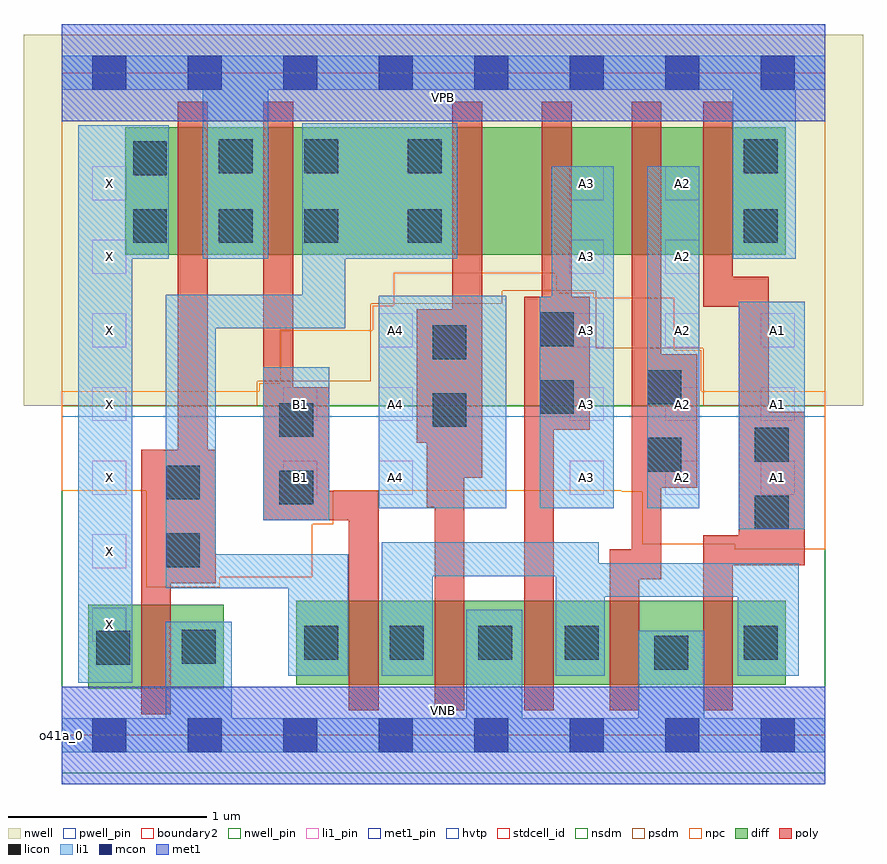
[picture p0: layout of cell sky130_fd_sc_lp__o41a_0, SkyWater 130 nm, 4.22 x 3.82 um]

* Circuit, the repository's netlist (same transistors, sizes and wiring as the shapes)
* Copyright 2020 The SkyWater PDK Authors
*
* Licensed under the Apache License, Version 2.0 (the "License");
* you may not use this file except in compliance with the License.
* You may obtain a copy of the License at
*
*     https://www.apache.org/licenses/LICENSE-2.0
*
* Unless required by applicable law or agreed to in writing, software
* distributed under the License is distributed on an "AS IS" BASIS,
* WITHOUT WARRANTIES OR CONDITIONS OF ANY KIND, either express or implied.
* See the License for the specific language governing permissions and
* limitations under the License.
*
* SPDX-License-Identifier: Apache-2.0

.SUBCKT sky130_fd_sc_lp__o41a_0 A1 A2 A3 A4 B1 VGND VNB VPB VPWR X
*.PININFO A1:I A2:I A3:I A4:I B1:I VGND:I VNB:I VPB:I VPWR:I X:O
MMPA0 VPWR A1 sndA1 VPB sky130_fd_pr__pfet_01v8_hvt m=1 w=0.64U l=0.15U mult=1
+ sa=0.265 sb=0.265 sd=0.28 area=0.063 perim=1.14
MMPA1 sndA1 A2 sndA2 VPB sky130_fd_pr__pfet_01v8_hvt m=1 w=0.64U l=0.15U mult=1
+ sa=0.265 sb=0.265 sd=0.28 area=0.063 perim=1.14
MMPA2 sndA2 A3 sndA3 VPB sky130_fd_pr__pfet_01v8_hvt m=1 w=0.64U l=0.15U mult=1
+ sa=0.265 sb=0.265 sd=0.28 area=0.063 perim=1.14
MMPA3 sndA3 A4 y VPB sky130_fd_pr__pfet_01v8_hvt m=1 w=0.64U l=0.15U mult=1 sa=0.265
+ sb=0.265 sd=0.28 area=0.063 perim=1.14
MMPB0 VPWR B1 y VPB sky130_fd_pr__pfet_01v8_hvt m=1 w=0.64U l=0.15U mult=1 sa=0.265
+ sb=0.265 sd=0.28 area=0.063 perim=1.14
MMIPX X y VPWR VPB sky130_fd_pr__pfet_01v8_hvt m=1 w=0.64U l=0.15U mult=1 sa=0.265
+ sb=0.265 sd=0.28 area=0.063 perim=1.14
MMNA0 pndA A1 VGND VNB sky130_fd_pr__nfet_01v8 m=1 w=0.42U l=0.15U mult=1 sa=0.265
+ sb=0.265 sd=0.28 area=0.063 perim=1.14
MMNA1 pndA A2 VGND VNB sky130_fd_pr__nfet_01v8 m=1 w=0.42U l=0.15U mult=1 sa=0.265
+ sb=0.265 sd=0.28 area=0.063 perim=1.14
MMNA2 pndA A3 VGND VNB sky130_fd_pr__nfet_01v8 m=1 w=0.42U l=0.15U mult=1 sa=0.265
+ sb=0.265 sd=0.28 area=0.063 perim=1.14
MMNA3 pndA A4 VGND VNB sky130_fd_pr__nfet_01v8 m=1 w=0.42U l=0.15U mult=1 sa=0.265
+ sb=0.265 sd=0.28 area=0.063 perim=1.14
MMNB0 y B1 pndA VNB sky130_fd_pr__nfet_01v8 m=1 w=0.42U l=0.15U mult=1 sa=0.265
+ sb=0.265 sd=0.28 area=0.063 perim=1.14
MMINX X y VGND VNB sky130_fd_pr__nfet_01v8 m=1 w=0.42U l=0.15U mult=1 sa=0.265
+ sb=0.265 sd=0.28 area=0.063 perim=1.14
.ENDS sky130_fd_sc_lp__o41a_0

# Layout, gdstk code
import gdstk
lib = gdstk.Library(unit=1e-6, precision=1e-09)
def R(c, l, rs):  # rectangles x0, y0, x1, y1
    for r in rs: c.add(gdstk.rectangle(r[:2], r[2:], *l))
def A(c, l, x, y, w, h, nx, ny, dx, dy):  # array of equal rectangles
    R(c, l, [(x+i*dx, y+j*dy, x+i*dx+w, y+j*dy+h) for i in range(nx) for j in range(ny)])
def P(c, l, *ps):  # polygons
    for p in ps: c.add(gdstk.Polygon(p, *l))
nwell_pin = (64, 16)
nwell = (64, 20)
diff = (65, 20)
poly = (66, 20)
licon = (66, 44)
li1_pin = (67, 16)
li1 = (67, 20)
mcon = (67, 44)
met1_pin = (68, 16)
met1 = (68, 20)
hvtp = (78, 44)
stdcell_id = (81, 4)
nsdm = (93, 44)
psdm = (94, 20)
npc = (95, 20)
pwell_pin = (122, 16)
boundary2 = (236, 0)

sky130_fd_sc_lp__o41a_0 = lib.new_cell('sky130_fd_sc_lp__o41a_0')
R(sky130_fd_sc_lp__o41a_0, nwell_pin, [(0,3.085,3.84,3.33)])
R(sky130_fd_sc_lp__o41a_0, nwell, [(-0.19,1.655,4.03,3.52)])
R(sky130_fd_sc_lp__o41a_0, diff, [(0.135,0.235,0.815,0.655), (1.18,0.255,3.64,0.675), (0.32,2.415,3.64,3.055)])
P(sky130_fd_sc_lp__o41a_0, poly, [(0.775,1.435),(0.735,1.435),(0.735,3.185),(0.585,3.185),(0.585,1.435),(0.4,1.435),(0.4,0.105),(0.55,0.105),(0.55,0.765),(0.775,0.765)],
  [(1.595,1.23),(1.345,1.23),(1.345,1.75),(1.165,1.75),(1.165,3.185),(1.015,3.185),(1.015,1.08),(1.445,1.08),(1.445,0.125),(1.595,0.125)],
  [(2.115,3.185),(1.965,3.185),(1.965,2.14),(1.785,2.14),(1.785,1.47),(1.835,1.47),(1.835,1.145),(1.875,1.145),(1.875,0.125),(2.025,0.125),(2.025,1.295),(2.115,1.295)],
  [(2.655,2.205),(2.565,2.205),(2.565,3.185),(2.415,3.185),(2.415,2.205),(2.325,2.205),(2.325,0.125),(2.475,0.125),(2.475,1.535),(2.655,1.535)],
  [(3.195,1.915),(3.015,1.915),(3.015,3.185),(2.865,3.185),(2.865,0.935),(2.755,0.935),(2.755,0.125),(2.905,0.125),(2.905,0.785),(3.015,0.785),(3.015,1.245),(3.195,1.245)],
  [(3.735,1.625),(3.555,1.625),(3.555,2.305),(3.375,2.305),(3.375,3.185),(3.225,3.185),(3.225,2.155),(3.405,2.155),(3.405,1.005),(3.225,1.005),(3.225,0.125),(3.375,0.125),(3.375,0.855),(3.735,0.855)])
A(sky130_fd_sc_lp__o41a_0, licon, 0.36, 2.475, 0.17, 0.17, 3, 1, 0.43, 0)
R(sky130_fd_sc_lp__o41a_0, licon, [(2.98,0.33,3.15,0.5), (0.175,0.355,0.345,0.525), (0.605,0.36,0.775,0.53), (1.22,0.38,1.39,0.55), (1.65,0.38,1.82,0.55), (2.095,0.38,2.265,0.55), (2.53,0.38,2.7,0.55), (3.43,0.38,3.6,0.55), (0.525,0.845,0.695,1.015), (3.485,1.035,3.655,1.205), (1.095,1.16,1.265,1.33), (0.525,1.185,0.695,1.355), (2.945,1.325,3.115,1.495), (3.485,1.375,3.655,1.545), (1.095,1.5,1.265,1.67), (1.865,1.55,2.035,1.72), (2.405,1.615,2.575,1.785), (2.945,1.665,3.115,1.835), (1.865,1.89,2.035,2.06), (2.405,1.955,2.575,2.125), (1.74,2.475,1.91,2.645), (3.43,2.475,3.6,2.645), (0.36,2.815,0.53,2.985), (0.79,2.825,0.96,2.995), (1.22,2.825,1.39,2.995), (1.74,2.825,1.91,2.995), (3.43,2.825,3.6,2.995)])
A(sky130_fd_sc_lp__o41a_0, li1_pin, 0.155, 0.47, 0.17, 0.17, 1, 7, 0, 0.37)
A(sky130_fd_sc_lp__o41a_0, li1_pin, 1.595, 1.21, 0.17, 0.17, 1, 3, 0, 0.37)
A(sky130_fd_sc_lp__o41a_0, li1_pin, 2.555, 1.21, 0.17, 0.17, 3, 3, 0.48, 0.37)
R(sky130_fd_sc_lp__o41a_0, li1_pin, [(1.115,1.21,1.285,1.38), (1.115,1.58,1.285,1.75), (2.555,2.32,2.725,2.49), (3.035,2.32,3.205,2.49), (2.555,2.69,2.725,2.86), (3.035,2.69,3.205,2.86)])
R(sky130_fd_sc_lp__o41a_0, li1, [(3.405,1.035,3.735,2.18), (1.015,1.08,1.345,1.85), (1.595,1.14,2.235,2.21), (2.945,1.14,3.205,2.86)])
P(sky130_fd_sc_lp__o41a_0, li1, [(3.705,0.865),(2.7,0.865),(2.7,0.97),(1.61,0.97),(1.61,0.3),(1.865,0.3),(1.865,0.8),(2.485,0.8),(2.485,0.3),(2.73,0.3),(2.73,0.695),(3.4,0.695),(3.4,0.3),(3.705,0.3)],
  [(1.99,3.075),(1.21,3.075),(1.21,2.215),(0.525,2.215),(0.525,0.74),(1.14,0.74),(1.14,0.3),(1.44,0.3),(1.44,0.91),(0.775,0.91),(0.775,2.045),(1.425,2.045),(1.425,2.395),(1.99,2.395)],
  [(0.54,3.065),(0.085,3.065),(0.085,0.265),(0.355,0.265),(0.355,2.395),(0.54,2.395)],
  [(2.775,2.86),(2.465,2.86),(2.465,2.205),(2.405,2.205),(2.405,1.14),(2.775,1.14)],
  [(3.84,0.085),(3.23,0.085),(3.23,0.525),(2.9,0.525),(2.9,0.085),(2.315,0.085),(2.315,0.63),(2.035,0.63),(2.035,0.085),(0.855,0.085),(0.855,0.57),(0.525,0.57),(0.525,0.085),(0,0.085),(0,-0.085),(3.84,-0.085)],
  [(3.84,3.415),(0,3.415),(0,3.245),(0.71,3.245),(0.71,2.395),(1.04,2.395),(1.04,3.245),(3.375,3.245),(3.375,2.395),(3.69,2.395),(3.69,3.245),(3.84,3.245)])
A(sky130_fd_sc_lp__o41a_0, mcon, 0.155, -0.085, 0.17, 0.17, 8, 2, 0.48, 3.33)
R(sky130_fd_sc_lp__o41a_0, met1_pin, [(0,0,3.84,0.245), (0,3.085,3.84,3.33)])
R(sky130_fd_sc_lp__o41a_0, met1, [(0,-0.245,3.84,0.245), (0,3.085,3.84,3.575)])
R(sky130_fd_sc_lp__o41a_0, hvtp, [(0,1.6,3.84,3.33)])
R(sky130_fd_sc_lp__o41a_0, stdcell_id, [(0,0,3.84,3.33)])
R(sky130_fd_sc_lp__o41a_0, nsdm, [(0,-0.19,3.84,1.655)])
P(sky130_fd_sc_lp__o41a_0, psdm, [(3.84,3.52),(0,3.52),(0,1.655),(0.985,1.655),(0.985,1.78),(1.555,1.78),(1.555,2.17),(2.215,2.17),(2.215,2.235),(2.685,2.235),(2.685,1.945),(3.225,1.945),(3.225,1.655),(3.84,1.655)])
P(sky130_fd_sc_lp__o41a_0, npc, [(3.84,1.73),(3.215,1.73),(3.215,1.935),(3.08,1.935),(3.08,2.2),(2.675,2.2),(2.675,2.225),(2.49,2.225),(2.49,2.325),(1.67,2.325),(1.67,2.16),(1.565,2.16),(1.565,2.035),(1.1,2.035),(1.1,1.77),(0.995,1.77),(0.995,1.73),(0,1.73),(0,1.23),(0.425,1.23),(0.425,0.745),(0.795,0.745),(0.795,0.795),(1.26,0.795),(1.26,1.06),(1.365,1.06),(1.365,1.23),(2.815,1.23),(2.815,1.225),(2.92,1.225),(2.92,0.96),(3.385,0.96),(3.385,0.935),(3.84,0.935)])
R(sky130_fd_sc_lp__o41a_0, pwell_pin, [(0,0,3.84,0.245)])
R(sky130_fd_sc_lp__o41a_0, boundary2, [(0,0,3.84,3.33)])
sky130_fd_sc_lp__o41a_0.add(gdstk.Label('VNB', (1.92,0.123), layer=64, texttype=59))
sky130_fd_sc_lp__o41a_0.add(gdstk.Label('VPB', (1.92,3.208), layer=64, texttype=5))
sky130_fd_sc_lp__o41a_0.add(gdstk.Label('o41a_0', (0,0), layer=83, texttype=44))
sky130_fd_sc_lp__o41a_0.add(gdstk.Label('VPWR', (1.92,3.208), layer=68, texttype=5))
sky130_fd_sc_lp__o41a_0.add(gdstk.Label('VGND', (1.92,0.123), layer=68, texttype=5))
sky130_fd_sc_lp__o41a_0.add(gdstk.Label('A1', (3.6,1.295), layer=67, texttype=5))
sky130_fd_sc_lp__o41a_0.add(gdstk.Label('A1', (3.6,1.665), layer=67, texttype=5))
sky130_fd_sc_lp__o41a_0.add(gdstk.Label('A1', (3.6,2.035), layer=67, texttype=5))
sky130_fd_sc_lp__o41a_0.add(gdstk.Label('A2', (3.12,1.295), layer=67, texttype=5))
sky130_fd_sc_lp__o41a_0.add(gdstk.Label('A2', (3.12,1.665), layer=67, texttype=5))
sky130_fd_sc_lp__o41a_0.add(gdstk.Label('A2', (3.12,2.035), layer=67, texttype=5))
sky130_fd_sc_lp__o41a_0.add(gdstk.Label('A2', (3.12,2.405), layer=67, texttype=5))
sky130_fd_sc_lp__o41a_0.add(gdstk.Label('A2', (3.12,2.775), layer=67, texttype=5))
sky130_fd_sc_lp__o41a_0.add(gdstk.Label('A3', (2.64,1.295), layer=67, texttype=5))
sky130_fd_sc_lp__o41a_0.add(gdstk.Label('A3', (2.64,1.665), layer=67, texttype=5))
sky130_fd_sc_lp__o41a_0.add(gdstk.Label('A3', (2.64,2.035), layer=67, texttype=5))
sky130_fd_sc_lp__o41a_0.add(gdstk.Label('A3', (2.64,2.405), layer=67, texttype=5))
sky130_fd_sc_lp__o41a_0.add(gdstk.Label('A3', (2.64,2.775), layer=67, texttype=5))
sky130_fd_sc_lp__o41a_0.add(gdstk.Label('A4', (1.68,1.295), layer=67, texttype=5))
sky130_fd_sc_lp__o41a_0.add(gdstk.Label('A4', (1.68,1.665), layer=67, texttype=5))
sky130_fd_sc_lp__o41a_0.add(gdstk.Label('A4', (1.68,2.035), layer=67, texttype=5))
sky130_fd_sc_lp__o41a_0.add(gdstk.Label('B1', (1.2,1.295), layer=67, texttype=5))
sky130_fd_sc_lp__o41a_0.add(gdstk.Label('B1', (1.2,1.665), layer=67, texttype=5))
sky130_fd_sc_lp__o41a_0.add(gdstk.Label('X', (0.24,1.295), layer=67, texttype=5))
sky130_fd_sc_lp__o41a_0.add(gdstk.Label('X', (0.24,1.665), layer=67, texttype=5))
sky130_fd_sc_lp__o41a_0.add(gdstk.Label('X', (0.24,2.035), layer=67, texttype=5))
sky130_fd_sc_lp__o41a_0.add(gdstk.Label('X', (0.24,2.405), layer=67, texttype=5))
sky130_fd_sc_lp__o41a_0.add(gdstk.Label('X', (0.24,2.775), layer=67, texttype=5))
sky130_fd_sc_lp__o41a_0.add(gdstk.Label('X', (0.24,0.555), layer=67, texttype=5))
sky130_fd_sc_lp__o41a_0.add(gdstk.Label('X', (0.24,0.925), layer=67, texttype=5))

lib.write_gds('sky130_fd_sc_lp__o41a_0.gds')
